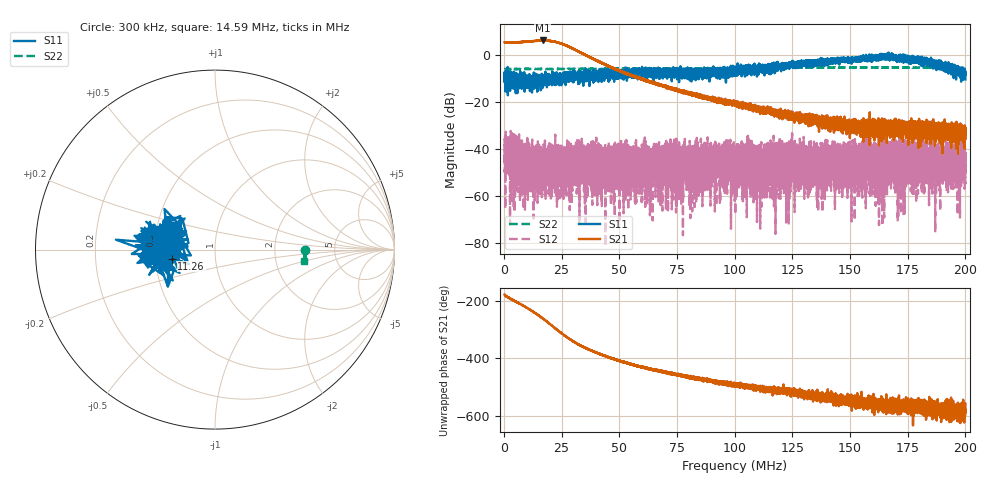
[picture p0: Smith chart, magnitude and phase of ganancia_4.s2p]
# Hz S DB R 50
! CMT, M5065, 19127446, 24.2.4/2
! Date: 10/29/2024 1:03:48 PM
! Data: Format (Calibration Info)
! Freq	S11:dB/Ang(F2)	S21:dB/Ang(F2)	S12:dB/Ang(F2)	S22:dB/Ang(F2)
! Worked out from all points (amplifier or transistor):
!   9000 points, 300 kHz to 200 MHz, reference 50 ohm
!   highest |S21| = 6.2 dB at 16.83 MHz (marker M1)
!   |S21| within 3 dB of that: start of sweep to 28.85 MHz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
!   unconditionally stable (mu >= 1): start of sweep to 156.9 MHz; 168.7 MHz to 171.1 MHz; 173.5 MHz to end of sweep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
!   at 33.59 MHz: K = 37.86, MAG = 2.8 dB, |S12| = -42.2 dB
!   at 100.2 MHz: K = 428.24, MAG = -18.5 dB, |S12| = -42.3 dB
!   at 200 MHz: K = 1542.06, MAG = -30.3 dB, |S12| = -41.3 dB
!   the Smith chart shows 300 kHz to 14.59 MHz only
!   S11 on the Smith chart (normalised r, x): 300 kHz: 0.44, +0.09; 11.26 MHz: 0.61, -0.07; 14.59 MHz: 0.55, +0.09
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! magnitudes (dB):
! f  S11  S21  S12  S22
! 300 kHz  -8.1  5.3  -42.3  -6.0
! 11.26 MHz  -12.2  5.8  -57.9  -6.0
! 14.59 MHz  -10.6  6.1  -41.1  -6.0
! 16.83 MHz  -10.9  6.2  -47.5  -6.0
! 33.59 MHz  -9.1  0.9  -42.2  -5.9
! 66.87 MHz  -8.2  -12.5  -42.8  -5.7
! 100.2 MHz  -7.9  -20.6  -42.3  -5.7
! 108.3 MHz  -4.2  -22.5  -43.0  -5.7
! 111.9 MHz  -6.6  -23.2  -50.2  -5.7
! 114.9 MHz  -4.4  -24.6  -46.3  -5.6
! 117.1 MHz  -5.7  -23.7  -44.4  -5.6
! 133.4 MHz  -4.5  -27.1  -53.4  -5.5
! 144 MHz  -2.5  -28.9  -39.1  -5.4
! 149 MHz  -2.8  -30.3  -42.3  -5.3
! 155.9 MHz  -1.4  -30.1  -48.2  -5.4
! 160.1 MHz  -0.3  -32.2  -47.9  -5.4
! 164.6 MHz  0.1  -35.9  -44.8  -5.4
! 166.7 MHz  -0.8  -33.1  -40.4  -5.4
! 170.4 MHz  -0.6  -30.3  -41.3  -5.4
! 174.8 MHz  -2.1  -31.1  -36.9  -5.4
! 191.7 MHz  -5.3  -34.2  -44.4  -5.5
! 200 MHz  -10.4  -32.1  -41.3  -5.5
